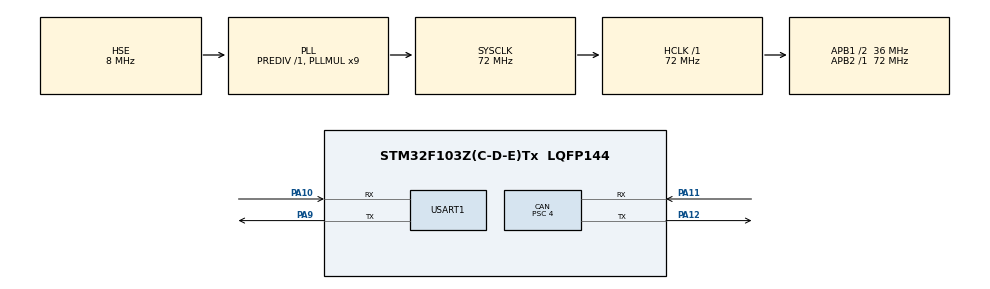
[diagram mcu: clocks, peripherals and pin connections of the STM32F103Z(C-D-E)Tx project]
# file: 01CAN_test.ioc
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CAN.BS1=CAN_BS1_9TQ
CAN.BS2=CAN_BS2_8TQ
CAN.CalculateBaudRate=500000
CAN.CalculateTimeBit=2000
CAN.CalculateTimeQuantum=111.11111111111111
CAN.Prescaler=4
Mcu.Family=STM32F1
Mcu.Name=STM32F103Z(C-D-E)Tx
Mcu.Package=LQFP144
NVIC.PriorityGroup=NVIC_PRIORITYGROUP_4
OSC_IN.Mode=HSE-External-Oscillator
OSC_IN.Signal=RCC_OSC_IN
OSC_OUT.Mode=HSE-External-Oscillator
OSC_OUT.Signal=RCC_OSC_OUT
PA10.Mode=Asynchronous
PA10.Signal=USART1_RX
PA11.Mode=CAN_Activate
PA11.Signal=CAN_RX
PA12.Mode=CAN_Activate
PA12.Signal=CAN_TX
PA13.Mode=Serial_Wire
PA13.Signal=SYS_JTMS-SWDIO
PA14.Mode=Serial_Wire
PA14.Signal=SYS_JTCK-SWCLK
PA9.Mode=Asynchronous
PA9.Signal=USART1_TX
ProjectManager.HeapSize=0x200
ProjectManager.StackSize=0x400
ProjectManager.TargetToolchain=MDK-ARM V5.32
RCC.AHBFreq_Value=72000000
RCC.APB1CLKDivider=RCC_HCLK_DIV2
RCC.APB1Freq_Value=36000000
RCC.APB1TimFreq_Value=72000000
RCC.APB2Freq_Value=72000000
RCC.APB2TimFreq_Value=72000000
RCC.HCLKFreq_Value=72000000
RCC.PLLMUL=RCC_PLL_MUL9
RCC.PLLSourceVirtual=RCC_PLLSOURCE_HSE
RCC.SYSCLKFreq_VALUE=72000000
RCC.SYSCLKSource=RCC_SYSCLKSOURCE_PLLCLK
RCC.USBFreq_Value=72000000
TIM1.Prescaler=72
USART1.VirtualMode=VM_ASYNC
VP_TIM1_VS_ClockSourceINT.Mode=Internal
board=custom

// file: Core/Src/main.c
/* USER CODE BEGIN Header */
/**
  ******************************************************************************
  * @file           : main.c
  * @brief          : Main program body
  ******************************************************************************
  * @attention
  *
  * Copyright (c) 2026 STMicroelectronics.
  * All rights reserved.
  *
  * This software is licensed under terms that can be found in the LICENSE file
  * in the root directory of this software component.
  * If no LICENSE file comes with this software, it is provided AS-IS.
  *
  ******************************************************************************
  */
/* USER CODE END Header */
#include "main.h"
#include "can.h"
#include "tim.h"
#include "usart.h"
#include "gpio.h"
#include "dht11.h"

/* USER CODE BEGIN PD */
#define SEND_LEN 5
/* USER CODE END PD */

/* USER CODE BEGIN PV */
uint8_t Tx_aData[] = {1,2,3,5,4,7,8,9};
uint8_t Rx_Data[8];

/* USER CODE END PV */

void SystemClock_Config(void);

int main(void)
{

  /* MCU Configuration--------------------------------------------------------*/

  /* Reset of all peripherals, Initializes the Flash interface and the Systick. */
  HAL_Init();

  /* Configure the system clock */
  SystemClock_Config();

  /* Initialize all configured peripherals */
  MX_GPIO_Init();
  MX_CAN_Init();
  MX_USART1_UART_Init();
  MX_TIM1_Init();
  /* USER CODE BEGIN 2 */
	 MX_GPIO_Init();
  MX_CAN_Init();
  MX_USART1_UART_Init();

	Can_Filter_Init();

  /* USER CODE END 2 */

  /* Infinite loop */
  /* USER CODE BEGIN WHILE */
  while (1)
  {
#if 0

		uint32_t Recv_ID = 0;
    uint32_t Recv_Len = Can_Recv_Msg(&Recv_ID,Rx_Data);
		if(Recv_Len>0)
		{
		printf("recv id %u : \r\n ",Recv_ID);
		printf("recv length 0x%x : \r\n ",Recv_Len);
		printf("recv: ");
		for(int i=0;i<Recv_Len;i++)
		printf(" %u ",Rx_Data[i]);
		printf(" \r\n ");

		memset(Rx_Data, 0, 4);
		}
		else{

		printf("recv eorro: ");
		}

#else
    DHT_Read();
		Can_Send_Msg(0x12,SEND_LEN,Data);

#endif
    /* USER CODE END WHILE */

  }
}

void SystemClock_Config(void)
{
  RCC_OscInitTypeDef RCC_OscInitStruct = {0};
  RCC_ClkInitTypeDef RCC_ClkInitStruct = {0};

  /** Initializes the RCC Oscillators according to the specified parameters
  * in the RCC_OscInitTypeDef structure.
  */
  RCC_OscInitStruct.OscillatorType = RCC_OSCILLATORTYPE_HSE;
  RCC_OscInitStruct.HSEState = RCC_HSE_ON;
  RCC_OscInitStruct.HSEPredivValue = RCC_HSE_PREDIV_DIV1;
  RCC_OscInitStruct.HSIState = RCC_HSI_ON;
  RCC_OscInitStruct.PLL.PLLState = RCC_PLL_ON;
  RCC_OscInitStruct.PLL.PLLSource = RCC_PLLSOURCE_HSE;
  RCC_OscInitStruct.PLL.PLLMUL = RCC_PLL_MUL9;
  if (HAL_RCC_OscConfig(&RCC_OscInitStruct) != HAL_OK)
  {
    Error_Handler();
  }

  /** Initializes the CPU, AHB and APB buses clocks
  */
  RCC_ClkInitStruct.ClockType = RCC_CLOCKTYPE_HCLK|RCC_CLOCKTYPE_SYSCLK
                              |RCC_CLOCKTYPE_PCLK1|RCC_CLOCKTYPE_PCLK2;
  RCC_ClkInitStruct.SYSCLKSource = RCC_SYSCLKSOURCE_PLLCLK;
  RCC_ClkInitStruct.AHBCLKDivider = RCC_SYSCLK_DIV1;
  RCC_ClkInitStruct.APB1CLKDivider = RCC_HCLK_DIV2;
  RCC_ClkInitStruct.APB2CLKDivider = RCC_HCLK_DIV1;

  if (HAL_RCC_ClockConfig(&RCC_ClkInitStruct, FLASH_LATENCY_2) != HAL_OK)
  {
    Error_Handler();
  }
}

void Error_Handler(void)
{
  __disable_irq();
  while (1)
  {
  }
}
